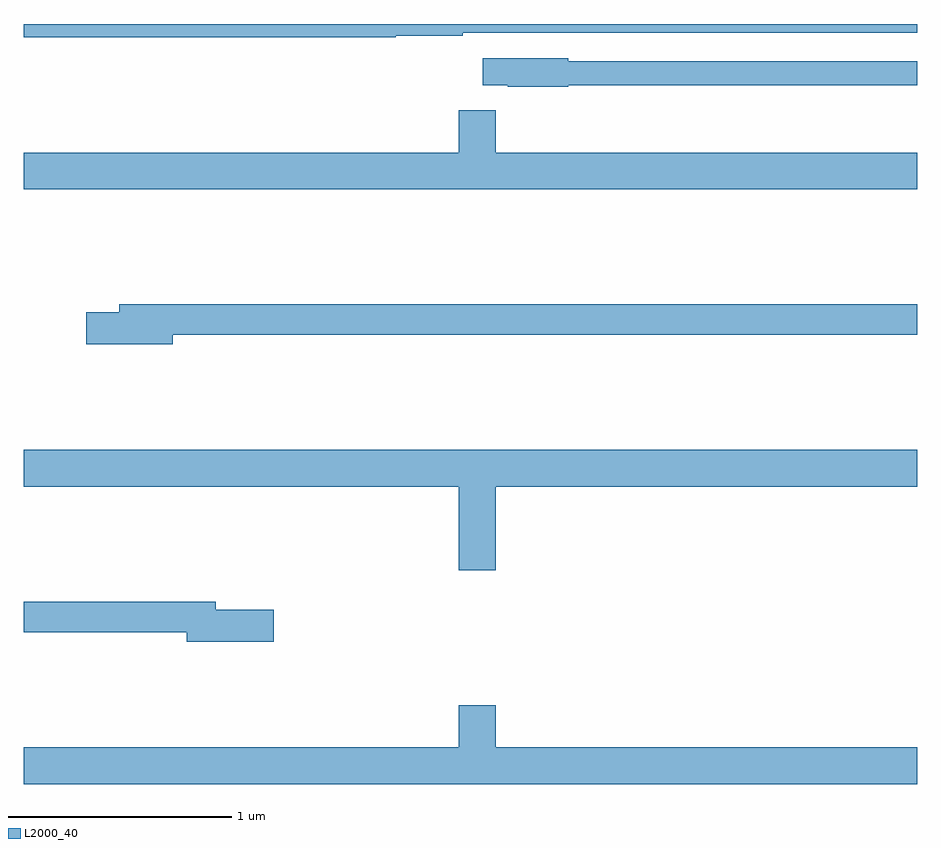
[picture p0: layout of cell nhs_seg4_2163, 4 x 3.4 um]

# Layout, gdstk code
import gdstk
lib = gdstk.Library(unit=1e-6, precision=1e-09)
def P(c, l, *ps):  # polygons
    for p in ps: c.add(gdstk.Polygon(p, *l))
L2000_40 = (2000, 40)

nhs_seg4_2163 = lib.new_cell('nhs_seg4_2163')
P(nhs_seg4_2163, L2000_40, [(224.666,790.848),(224.966,790.848),(224.966,790.86),(227,790.86),(227,790.9),(223,790.9),(223,790.84),(224.666,790.84)],
  [(225.438,790.626),(227,790.626),(227,790.734),(225.438,790.734),(225.438,790.747),(225.054,790.747),(225.054,790.625),(225.166,790.625),(225.166,790.618),(225.438,790.618)],
  [(227,790.324),(225.112,790.324),(225.112,790.513),(224.948,790.513),(224.948,790.324),(223,790.324),(223,790.16),(227,790.16)],
  [(223.666,789.508),(227,789.508),(227,789.644),(223.427,789.644),(223.427,789.608),(223.278,789.608),(223.278,789.466),(223.666,789.466)],
  [(225.112,788.828),(227,788.828),(227,788.992),(223,788.992),(223,788.828),(224.948,788.828),(224.948,788.454),(225.112,788.454)],
  [(224.119,788.276),(223.858,788.276),(223.858,788.312),(223,788.312),(223,788.176),(223.73,788.176),(223.73,788.134),(224.119,788.134)],
  [(227,787.66),(225.112,787.66),(225.112,787.849),(224.948,787.849),(224.948,787.66),(223,787.66),(223,787.496),(227,787.496)])

lib.write_gds('nhs_seg4_2163.gds')
